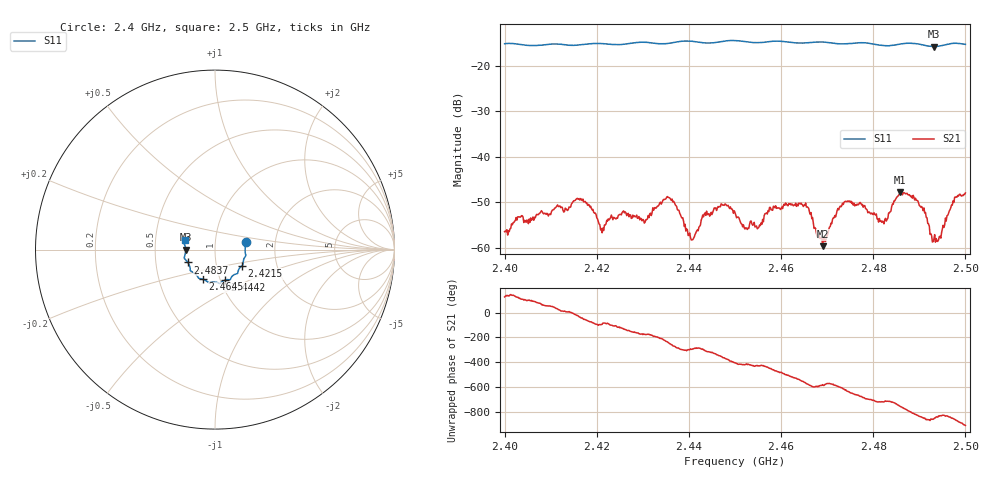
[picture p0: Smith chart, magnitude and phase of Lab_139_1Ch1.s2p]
# Hz S RI R 50
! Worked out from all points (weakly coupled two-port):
!   601 points, 2.4 GHz to 2.5 GHz, reference 50 ohm
!   highest |S21| = -47.81 dB at 2.4858 GHz (marker M1); lowest = -59.6 dB at 2.469 GHz (marker M2)
!   lowest |S11| = -15.7 dB at 2.4932 GHz (marker M3), VSWR 1.39, Z = 35.9 - j0.0515 ohm
!   |S11| at or under -10 dB: start of sweep to end of sweep
!   S12 and S22 are empty: the file has one direction only
!   S11 on the Smith chart (normalised r, x): 2.4 GHz: 1.41, +0.12; 2.4215 GHz: 1.33, -0.25; 2.4442 GHz: 1.05, -0.37; 2.4645 GHz: 0.83, -0.29; 2.4837 GHz: 0.73, -0.11; 2.5 GHz: 0.71, +0.07
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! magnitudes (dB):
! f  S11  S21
! 2.4 GHz  -15.1  -56.4
! 2.4167 GHz  -15.3  -49.3
! 2.4215 GHz  -15.1  -56.2
! 2.4305 GHz  -14.8  -54.3
! 2.4333 GHz  -15.1  -50.8
! 2.4363 GHz  -14.9  -49.2
! 2.4408 GHz  -14.6  -58.2
! 2.4442 GHz  -15.0  -52.6
! 2.45 GHz  -14.4  -52.2
! 2.4548 GHz  -14.9  -55.8
! 2.458 GHz  -14.6  -51.6
! 2.4645 GHz  -15.0  -50.4
! 2.4667 GHz  -14.8  -53.6
! 2.469 GHz  -14.7  -59.6
! 2.4742 GHz  -15.1  -49.8
! 2.4833 GHz  -15.6  -52.3
! 2.4837 GHz  -15.5  -52.0
! 2.4858 GHz  -15.2  -47.8
! 2.4892 GHz  -15.1  -49.1
! 2.4932 GHz  -15.7  -58.0
! 2.4978 GHz  -15.0  -48.9
! 2.5 GHz  -15.2  -47.9
